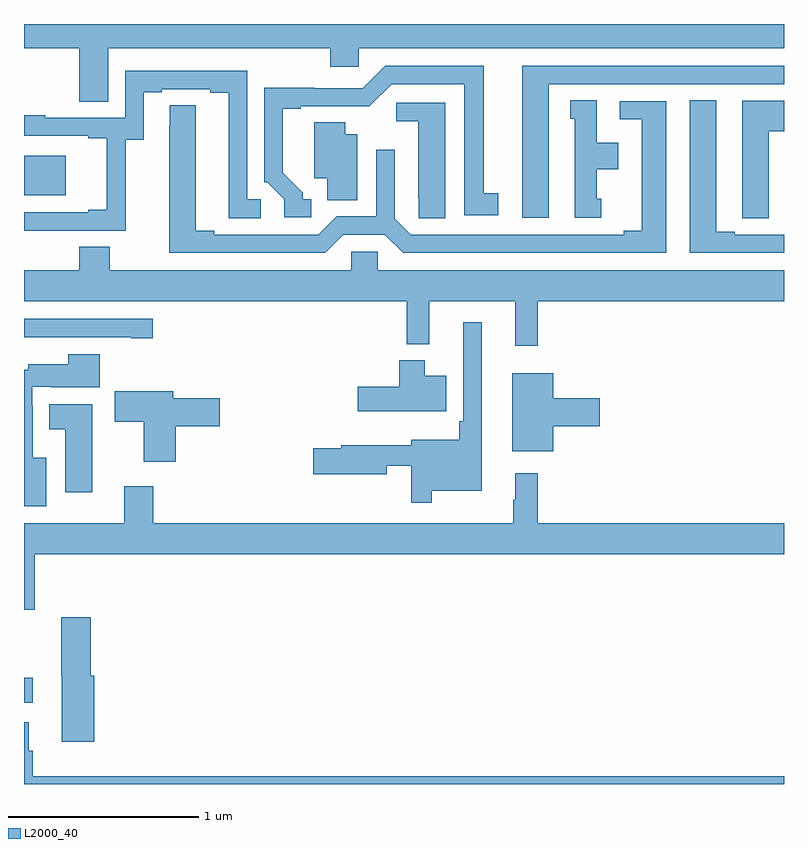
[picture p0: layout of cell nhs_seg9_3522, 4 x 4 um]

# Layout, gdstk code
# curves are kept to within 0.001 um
import gdstk
lib = gdstk.Library(unit=1e-6, precision=1e-09)
def R(c, l, rs):  # rectangles x0, y0, x1, y1
    for r in rs: c.add(gdstk.rectangle(r[:2], r[2:], *l))
def P(c, l, *ps):  # polygons
    for p in ps: c.add(gdstk.Polygon(p, *l))
L2000_40 = (2000, 40)

nhs_seg9_3522 = lib.new_cell('nhs_seg9_3522')
R(nhs_seg9_3522, L2000_40, [(311,1240.928,311.047,1241.058), (311,1243.598,311.221,1243.807)])
P(nhs_seg9_3522, L2000_40, [(311.443,1244.372),(312.611,1244.372),(312.611,1244.274),(312.762,1244.274),(312.762,1244.372),(315,1244.372),(315,1244.5),(311,1244.5),(311,1244.372),(311.291,1244.372),(311.291,1244.092),(311.443,1244.092)],
  [(313.762,1244.184),(315,1244.184),(315,1244.28),(313.622,1244.28),(313.622,1243.479),(313.762,1243.479)],
  [(312.511,1243.578),(312.466,1243.578),(312.466,1243.613),(312.361,1243.718),(312.361,1244.055),(312.457,1244.055),(312.457,1244.067),(312.818,1244.066),(312.936,1244.184),(313.316,1244.184),(313.316,1243.494),(313.495,1243.494),(313.495,1243.61),(313.42,1243.61),(313.42,1244.28),(312.9,1244.28),(312.783,1244.163),(312.527,1244.163),(312.527,1244.165),(312.264,1244.165),(312.264,1243.668),(312.279,1243.668),(312.369,1243.578),(312.369,1243.482),(312.511,1243.482)],
  [(311.535,1243.891),(311.629,1243.891),(311.629,1244.142),(311.725,1244.142),(311.725,1244.157),(311.981,1244.157),(311.981,1244.137),(312.077,1244.137),(312.077,1243.477),(312.247,1243.477),(312.247,1243.578),(312.174,1243.578),(312.174,1244.253),(311.532,1244.253),(311.532,1244.007),(311.113,1244.007),(311.113,1244.02),(311.001,1244.02),(311.001,1243.911),(311.339,1243.911),(311.339,1243.899),(311.435,1243.899),(311.435,1243.522),(311.339,1243.522),(311.339,1243.509),(311.001,1243.509),(311.001,1243.413),(311.535,1243.413)],
  [(314.038,1243.581),(314.014,1243.581),(314.014,1243.736),(314.128,1243.736),(314.128,1243.876),(314.014,1243.876),(314.014,1244.099),(313.874,1244.099),(313.874,1244.001),(313.898,1244.001),(313.898,1243.479),(314.038,1243.479)],
  [(315,1243.392),(314.74,1243.392),(314.74,1243.407),(314.644,1243.407),(314.644,1244.099),(314.504,1244.099),(314.504,1243.296),(315,1243.296)],
  [(314.92,1243.936),(315,1243.936),(315,1244.095),(314.78,1244.095),(314.78,1243.585),(314.781,1243.585),(314.781,1243.477),(314.92,1243.477)],
  [(312.681,1243.392),(312.899,1243.392),(312.995,1243.296),(314.38,1243.296),(314.38,1244.094),(314.136,1244.094),(314.136,1243.998),(314.252,1243.998),(314.252,1243.412),(314.156,1243.412),(314.156,1243.392),(313.035,1243.392),(312.951,1243.476),(312.951,1243.837),(312.855,1243.837),(312.855,1243.488),(312.645,1243.488),(312.549,1243.392),(312.001,1243.392),(312.001,1243.412),(311.905,1243.412),(311.905,1244.072),(311.766,1244.072),(311.765,1243.296),(312.585,1243.296)],
  [(313.216,1244.085),(312.96,1244.085),(312.96,1243.988),(313.076,1243.988),(313.076,1243.585),(313.077,1243.585),(313.077,1243.477),(313.216,1243.477)],
  [(312.754,1243.921),(312.691,1243.921),(312.691,1243.982),(312.527,1243.982),(312.527,1243.688),(312.596,1243.688),(312.596,1243.573),(312.754,1243.573)],
  [(313.703,1243.04),(315,1243.04),(315,1243.204),(312.861,1243.204),(312.861,1243.302),(312.723,1243.302),(312.723,1243.204),(311.451,1243.204),(311.451,1243.328),(311.291,1243.328),(311.291,1243.204),(311,1243.204),(311,1243.04),(313.015,1243.04),(313.015,1242.815),(313.133,1242.815),(313.133,1243.04),(313.586,1243.04),(313.586,1242.807),(313.703,1242.807)],
  [(311.677,1242.948),(311,1242.948),(311,1242.852),(311.564,1242.852),(311.564,1242.847),(311.677,1242.847)],
  [(313.147,1242.044),(313.408,1242.044),(313.408,1242.931),(313.311,1242.931),(313.311,1242.409),(313.291,1242.409),(313.291,1242.313),(313.037,1242.313),(313.037,1242.283),(312.671,1242.283),(312.671,1242.266),(312.522,1242.266),(312.522,1242.131),(312.91,1242.131),(312.91,1242.174),(313.038,1242.174),(313.038,1241.979),(313.147,1241.979)],
  [(311.116,1242.217),(311.047,1242.217),(311.047,1242.491),(311.043,1242.491),(311.043,1242.591),(311.143,1242.591),(311.143,1242.587),(311.398,1242.587),(311.398,1242.763),(311.234,1242.763),(311.234,1242.709),(311.022,1242.709),(311.022,1242.681),(311,1242.681),(311,1241.963),(311.116,1241.963)],
  [(313.222,1242.649),(313.108,1242.649),(313.108,1242.73),(312.974,1242.73),(312.974,1242.591),(312.756,1242.591),(312.756,1242.461),(313.222,1242.461)],
  [(313.786,1242.383),(314.029,1242.383),(314.029,1242.53),(313.786,1242.53),(313.786,1242.661),(313.571,1242.661),(313.571,1242.251),(313.786,1242.251)],
  [(311.798,1242.383),(312.031,1242.383),(312.031,1242.53),(311.785,1242.53),(311.785,1242.568),(311.478,1242.568),(311.478,1242.406),(311.63,1242.406),(311.63,1242.195),(311.798,1242.195)],
  [(311.359,1242.499),(311.132,1242.499),(311.132,1242.368),(311.216,1242.368),(311.216,1242.036),(311.359,1242.036)],
  [(311.057,1241.708),(315,1241.708),(315,1241.872),(313.703,1241.872),(313.703,1242.136),(313.586,1242.136),(313.586,1241.996),(313.575,1241.996),(313.575,1241.872),(311.681,1241.872),(311.681,1242.067),(311.528,1242.067),(311.528,1241.872),(311,1241.872),(311,1241.418),(311.057,1241.418)],
  [(311.369,1241.07),(311.351,1241.07),(311.351,1241.377),(311.197,1241.377),(311.197,1241.07),(311.198,1241.07),(311.198,1240.722),(311.369,1240.722)],
  [(315,1240.54),(311.045,1240.54),(311.045,1240.674),(311.026,1240.674),(311.026,1240.825),(311,1240.825),(311,1240.5),(315,1240.5)])

lib.write_gds('nhs_seg9_3522.gds')
